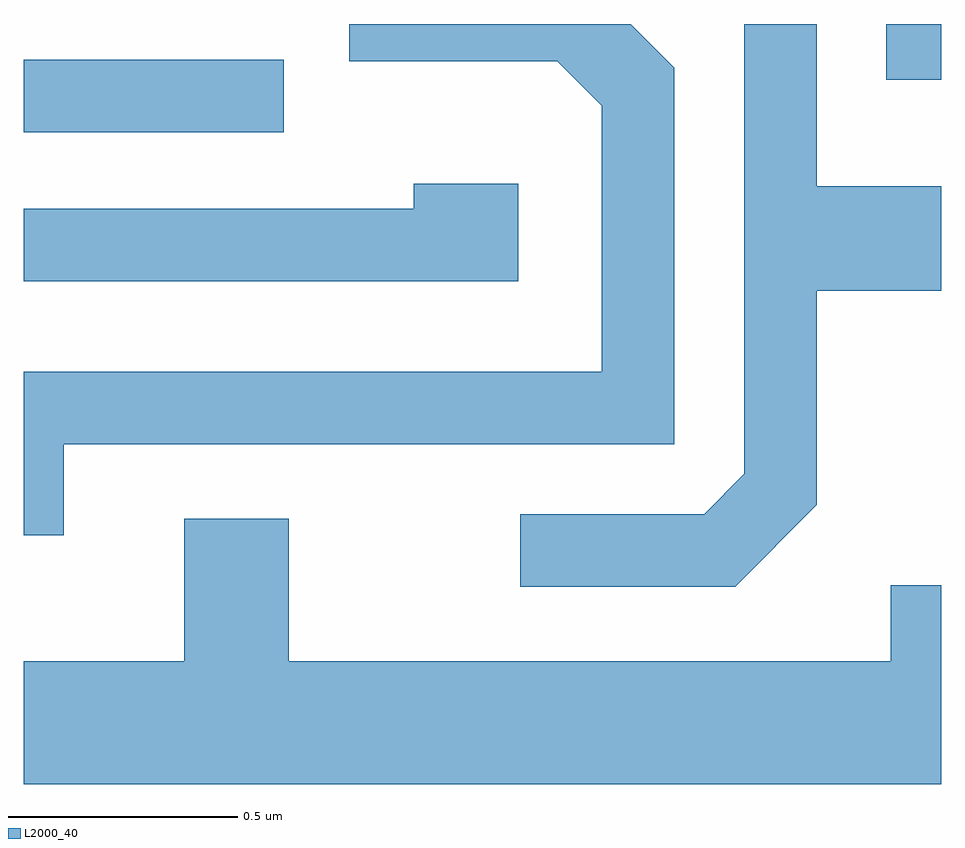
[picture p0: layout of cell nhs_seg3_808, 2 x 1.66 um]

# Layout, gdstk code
import gdstk
lib = gdstk.Library(unit=1e-6, precision=1e-09)
def R(c, l, rs):  # rectangles x0, y0, x1, y1
    for r in rs: c.add(gdstk.rectangle(r[:2], r[2:], *l))
def P(c, l, *ps):  # polygons
    for p in ps: c.add(gdstk.Polygon(p, *l))
L2000_40 = (2000, 40)

nhs_seg3_808 = lib.new_cell('nhs_seg3_808')
R(nhs_seg3_808, L2000_40, [(190.611,1240.656,191.178,1240.814), (192.491,1240.771,192.611,1240.892)])
P(nhs_seg3_808, L2000_40, [(190.699,1239.976),(192.029,1239.976),(192.029,1240.797),(191.934,1240.892),(191.321,1240.892),(191.321,1240.811),(191.774,1240.811),(191.871,1240.714),(191.871,1240.134),(190.611,1240.134),(190.611,1239.778),(190.699,1239.778)],
  [(192.339,1239.844),(192.339,1240.311),(192.611,1240.311),(192.611,1240.539),(192.339,1240.539),(192.339,1240.892),(192.181,1240.892),(192.181,1239.912),(192.094,1239.824),(191.693,1239.824),(191.693,1239.666),(192.162,1239.666)],
  [(191.689,1240.544),(191.461,1240.544),(191.461,1240.489),(190.611,1240.489),(190.611,1240.331),(191.689,1240.331)],
  [(192.611,1239.669),(192.501,1239.669),(192.501,1239.504),(191.189,1239.504),(191.189,1239.814),(190.961,1239.814),(190.961,1239.504),(190.611,1239.504),(190.611,1239.236),(192.611,1239.236)])

lib.write_gds('nhs_seg3_808.gds')
